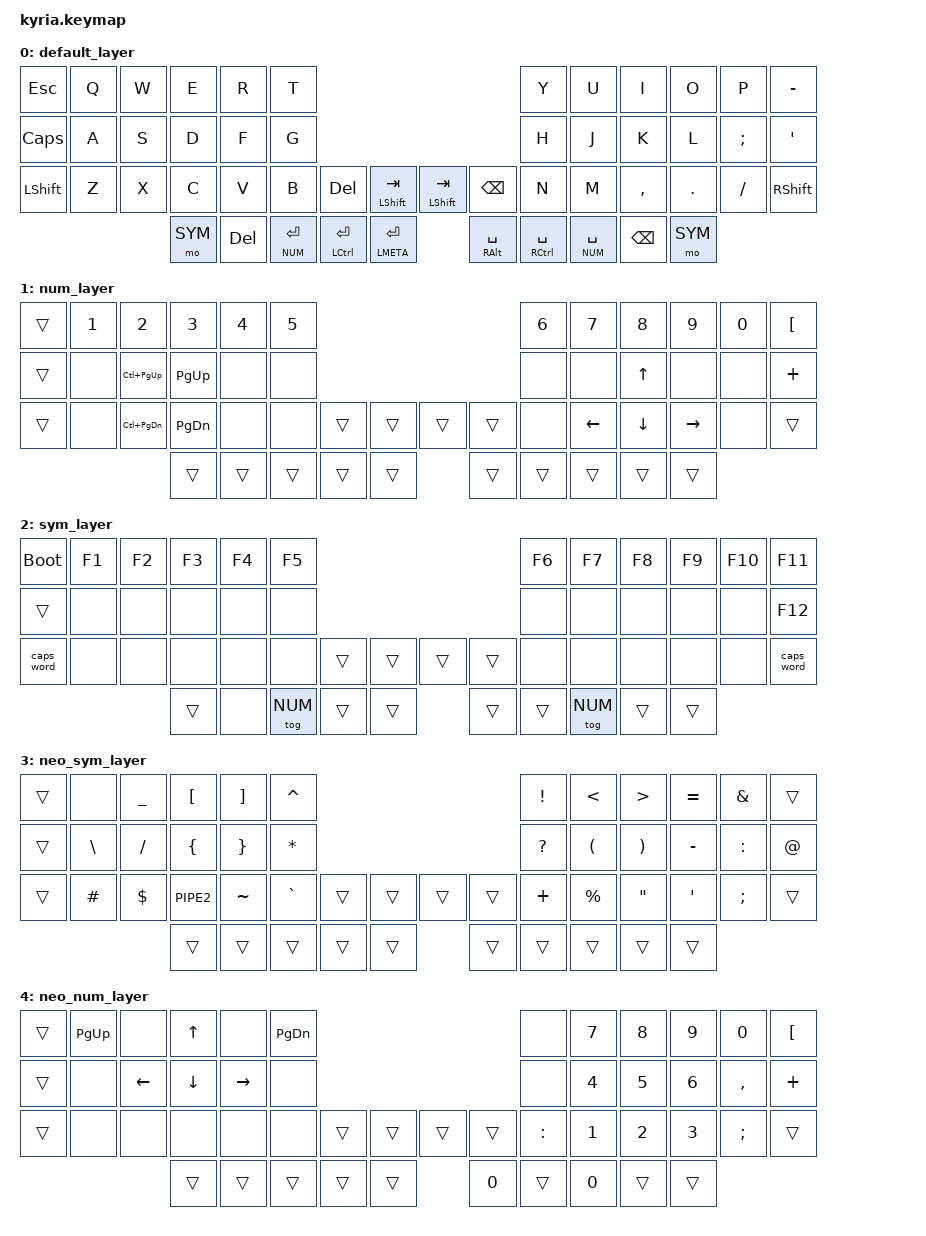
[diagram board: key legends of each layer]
/*
 * Copyright (c) 2020 The ZMK Contributors
 *
 * SPDX-License-Identifier: MIT
 */

#include <behaviors.dtsi>
#include <dt-bindings/zmk/keys.h>


#define DEFAULT 0
#define NUM     1
#define SYM     2
#define NEOSYM  3
#define NEONUM  4

&left_encoder {
    status = "okay";
};

&right_encoder {
    status = "okay";
};

/ {
	keymap {
		compatible = "zmk,keymap";

		default_layer { // 0
			bindings = <
//+----------+----------+----------+----------+----------+----------+                                                 +----------+----------+----------+----------+----------+----------+
//|          |          |          |          |          |          |                                                 |          |          |          |          |          |          |
  &kp ESC    &kp Q      &kp W      &kp E      &kp R      &kp T                                                        &kp Y      &kp U      &kp I      &kp O      &kp P      &kp MINUS
  &kp CAPS   &kp A      &kp S      &kp D      &kp F      &kp G                                                        &kp H      &kp J      &kp K      &kp L      &kp SEMI   &kp SQT
  &kp LSHFT  &kp Z      &kp X      &kp C      &kp V      &kp B      &kp DEL    &mt LSHFT TAB    &mt LSHFT TAB &kp BSPC &kp N     &kp M      &kp COMMA  &kp DOT    &kp FSLH   &kp RSHFT
//+----------+----------+----------+----------+----------+----------+----------+----------+     +----------+----------+----------+----------+----------+----------+----------+----------+
                                   &mo SYM    &kp DEL    &lt NUM RET &mt LCTRL RET &mt LMETA RET &mt RALT SPC &mt RCTRL SPC &lt NUM SPC &kp BSPC &mo SYM
//                                 |          |          |          |          |          |     |          |          |          |          |          |
//                                 +----------+----------+----------+----------+----------+     +----------+----------+----------+----------+----------+
			>;
        };
		num_layer { // 1
			bindings = <
//+----------+----------+----------+----------+----------+----------+                                                 +----------+----------+----------+----------+----------+----------+
//|          |          |          |          |          |          |                                                 |          |          |          |          |          |          |
  &trans     &kp N1     &kp N2     &kp N3     &kp N4     &kp N5                                                       &kp N6     &kp N7     &kp N8     &kp N9     &kp N0     &kp LEFT_BRACKET
  &trans     &none      &kp LC(PAGE_UP) &kp PAGE_UP &none &none                                                       &none      &none      &kp UP     &none      &none      &kp PLUS
  &trans     &none      &kp LC(PAGE_DOWN) &kp PAGE_DOWN &none &none &trans     &trans           &trans     &trans     &none      &kp LEFT   &kp DOWN   &kp RIGHT  &none      &trans
//+----------+----------+----------+----------+----------+----------+----------+----------+     +----------+----------+----------+----------+----------+----------+----------+----------+
                                   &trans     &trans     &trans     &trans     &trans           &trans     &trans     &trans     &trans     &trans
//                                 |          |          |          |          |          |     |          |          |          |          |          |
//                                 +----------+----------+----------+----------+----------+     +----------+----------+----------+----------+----------+
			>;
		};
		sym_layer { // 2
			bindings = <
//+----------+----------+----------+----------+----------+----------+                                                 +----------+----------+----------+----------+----------+----------+
//|          |          |          |          |          |          |                                                 |          |          |          |          |          |          |
  &bootloader &kp F1    &kp F2     &kp F3     &kp F4     &kp F5                                                       &kp F6     &kp F7     &kp F8     &kp F9     &kp F10    &kp F11
  &trans     &none      &none      &none      &none      &none                                                        &none      &none      &none      &none      &none      &kp F12
  &caps_word &none      &none      &none      &none      &none      &trans     &trans           &trans     &trans     &none      &none      &none      &none      &none      &caps_word
//+----------+----------+----------+----------+----------+----------+----------+----------+     +----------+----------+----------+----------+----------+----------+----------+----------+
                                   &trans     &none      &tog NUM   &trans     &trans           &trans     &trans     &tog NUM   &trans     &trans
//                                 |          |          |          |          |          |     |          |          |          |          |          |
//                                 +----------+----------+----------+----------+----------+     +----------+----------+----------+----------+----------+
			>;
		};
		neo_sym_layer { // 3
			bindings = <
//+----------+----------+----------+----------+----------+----------+                                                 +----------+----------+----------+----------+----------+----------+
//|          |          |          |          |          |          |                                                 |          |          |          |          |          |          |
  &trans     &none      &kp UNDER  &kp LBKT   &kp RBKT   &kp CARET                                                    &kp EXCL   &kp LT     &kp GT     &kp EQUAL  &kp AMPS   &trans
  &trans     &kp BSLH   &kp FSLH   &kp LBRC   &kp RBRC   &kp STAR                                                     &kp QMARK  &kp LPAR   &kp RPAR   &kp MINUS  &kp COLON  &kp AT
  &trans     &kp HASH   &kp DLLR   &kp PIPE2  &kp TILDE  &kp GRAVE  &trans     &trans           &trans     &trans     &kp PLUS   &kp PRCNT  &kp DQT    &kp SQT    &kp SEMI   &trans
//+----------+----------+----------+----------+----------+----------+----------+----------+     +----------+----------+----------+----------+----------+----------+----------+----------+
                                   &trans     &trans     &trans     &trans     &trans           &trans     &trans     &trans     &trans     &trans
//                                 |          |          |          |          |          |     |          |          |          |          |          |
//                                 +----------+----------+----------+----------+----------+     +----------+----------+----------+----------+----------+
			>;
		};
		neo_num_layer { // 4
			bindings = <
//+----------+----------+----------+----------+----------+----------+                                                 +----------+----------+----------+----------+----------+----------+
//|          |          |          |          |          |          |                                                 |          |          |          |          |          |          |
  &trans     &kp PAGE_UP &none     &kp UP     &none      &kp PAGE_DOWN                                                &none      &kp N7     &kp N8     &kp N9     &kp N0     &kp LEFT_BRACKET
  &trans     &none      &kp LEFT   &kp DOWN   &kp RIGHT  &none                                                        &none      &kp N4     &kp N5     &kp N6     &kp COMMA  &kp PLUS
  &trans     &none      &none      &none      &none      &none      &trans     &trans           &trans     &trans     &kp COLON  &kp N1     &kp N2     &kp N3     &kp SEMI   &trans
//+----------+----------+----------+----------+----------+----------+----------+----------+     +----------+----------+----------+----------+----------+----------+----------+----------+
                                   &trans     &trans     &trans     &trans     &trans           &kp N0     &trans     &kp N0     &trans     &trans
//                                 |          |          |          |          |          |     |          |          |          |          |          |
//                                 +----------+----------+----------+----------+----------+     +----------+----------+----------+----------+----------+
			>;
		};
	};
};
